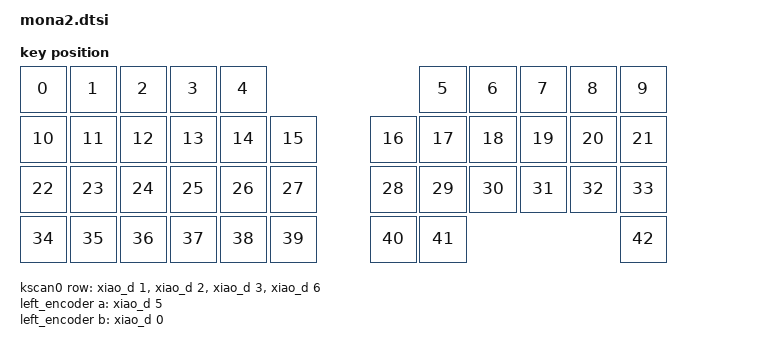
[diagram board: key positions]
#include <dt-bindings/zmk/matrix_transform.h>
#include <input/processors.dtsi>
#include <dt-bindings/zmk/input_transform.h>
#include <physical_layouts.dtsi>

/ {
    chosen {
        zmk,physical-layout = &physical_layout0;
    };

    physical_layout0: physical_layout_0 {
        compatible = "zmk,physical-layout";
        display-name = "default_layout";

        kscan = <&kscan0>;
        transform = <&default_transform>;

        keys  //                     w   h    x    y     rot    rx    ry
            = <&key_physical_attrs 100 100    0    0       0     0     0>
            , <&key_physical_attrs 100 100  100    0       0     0     0>
            , <&key_physical_attrs 100 100  200    0       0     0     0>
            , <&key_physical_attrs 100 100  300    0       0     0     0>
            , <&key_physical_attrs 100 100  400    0       0     0     0>
            , <&key_physical_attrs 100 100  800    0       0     0     0>
            , <&key_physical_attrs 100 100  900    0       0     0     0>
            , <&key_physical_attrs 100 100 1000    0       0     0     0>
            , <&key_physical_attrs 100 100 1100    0       0     0     0>
            , <&key_physical_attrs 100 100 1200    0       0     0     0>
            , <&key_physical_attrs 100 100    0  100       0     0     0>
            , <&key_physical_attrs 100 100  100  100       0     0     0>
            , <&key_physical_attrs 100 100  200  100       0     0     0>
            , <&key_physical_attrs 100 100  300  100       0     0     0>
            , <&key_physical_attrs 100 100  400  100       0     0     0>
            , <&key_physical_attrs 100 100  500  100       0     0     0> 
            , <&key_physical_attrs 100 100  700  100       0     0     0>
            , <&key_physical_attrs 100 100  800  100       0     0     0>
            , <&key_physical_attrs 100 100  900  100       0     0     0>
            , <&key_physical_attrs 100 100 1000  100       0     0     0>
            , <&key_physical_attrs 100 100 1100  100       0     0     0>
            , <&key_physical_attrs 100 100 1200  100       0     0     0>
            , <&key_physical_attrs 100 100    0  200       0     0     0>
            , <&key_physical_attrs 100 100  100  200       0     0     0>
            , <&key_physical_attrs 100 100  200  200       0     0     0>
            , <&key_physical_attrs 100 100  300  200       0     0     0>
            , <&key_physical_attrs 100 100  400  200       0     0     0>
            , <&key_physical_attrs 100 100  500  200       0     0     0>
            , <&key_physical_attrs 100 100  700  200       0     0     0>
            , <&key_physical_attrs 100 100  800  200       0     0     0>
            , <&key_physical_attrs 100 100  900  200       0     0     0>
            , <&key_physical_attrs 100 100 1000  200       0     0     0>
            , <&key_physical_attrs 100 100 1100  200       0     0     0>
            , <&key_physical_attrs 100 100 1200  200       0     0     0>
            , <&key_physical_attrs 100 100    0  300       0     0     0>
            , <&key_physical_attrs 100 100  100  300       0     0     0>
            , <&key_physical_attrs 100 100  200  300       0     0     0>
            , <&key_physical_attrs 100 100  300  300       0     0     0>
            , <&key_physical_attrs 100 100  400  300       0     0     0>
            , <&key_physical_attrs 100 100  500  300       0     0     0>
            , <&key_physical_attrs 100 100  700  300       0     0     0>
            , <&key_physical_attrs 100 100  800  300       0     0     0>
            , <&key_physical_attrs 100 100 1200  300       0     0     0>
            ;
    };
    
    kscan0: kscan {
        compatible = "zmk,kscan-gpio-matrix";
        label = "KSCAN";
        diode-direction = "col2row";
            row-gpios
                = <&xiao_d 1 (GPIO_ACTIVE_HIGH | GPIO_PULL_DOWN)> 
                , <&xiao_d 2 (GPIO_ACTIVE_HIGH | GPIO_PULL_DOWN)> 
                , <&xiao_d 3 (GPIO_ACTIVE_HIGH | GPIO_PULL_DOWN)> 
                , <&xiao_d 6 (GPIO_ACTIVE_HIGH | GPIO_PULL_DOWN)> 			
                ;
    };

    //right hand trackball
    trackball_central_listener: trackball_central_listener {
        compatible = "zmk,input-listener";
        status = "disabled";
        input-processors = 
            <&zip_xy_transform INPUT_TRANSFORM_Y_INVERT>;         //Y軸反転
            //<&zip_xy_transform INPUT_TRANSFORM_XY_SWAP>,        //X軸とY軸の入れ替え
            //<&zip_xy_transform INPUT_TRANSFORM_X_INVERT>,       //X軸反転
            //<&zip_temp_layer 5 500>;                            //オートマウスレイヤーの選択
    };

    left_encoder: encoder_left {
        compatible = "alps,ec11";
        a-gpios = <&xiao_d 5 (GPIO_ACTIVE_HIGH | GPIO_PULL_UP)>;
        b-gpios = <&xiao_d 0 (GPIO_ACTIVE_HIGH | GPIO_PULL_UP)>;
        steps = <24>;
        status = "disabled";
    };

    right_encoder: encoder_right {
        status = "disabled";
    };

    sensors: sensors {
        compatible = "zmk,keymap-sensors";
        sensors = <&left_encoder &right_encoder>;
        triggers-per-rotation = <10>;
    };

};
